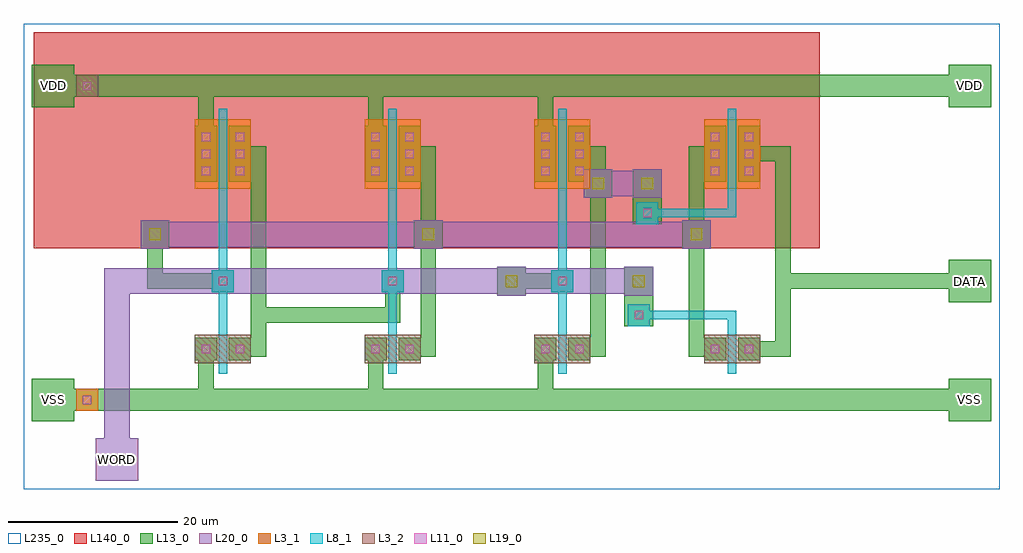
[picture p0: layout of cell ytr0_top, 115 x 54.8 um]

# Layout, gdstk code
import gdstk
lib = gdstk.Library(unit=1e-6, precision=1e-09)
def R(c, l, rs):  # rectangles x0, y0, x1, y1
    for r in rs: c.add(gdstk.rectangle(r[:2], r[2:], *l))
def A(c, l, x, y, w, h, nx, ny, dx, dy):  # array of equal rectangles
    R(c, l, [(x+i*dx, y+j*dy, x+i*dx+w, y+j*dy+h) for i in range(nx) for j in range(ny)])
L3_1 = (3, 1)
L3_2 = (3, 2)
L8_1 = (8, 1)
L11_0 = (11, 0)
L13_0 = (13, 0)
L19_0 = (19, 0)
L20_0 = (20, 0)
L140_0 = (140, 0)
L235_0 = (235, 0)

fet_p = lib.new_cell('fet_p')
R(fet_p, L3_1, [(-3.3,-4.1,3.3,4.1)])
A(fet_p, L11_0, -2.5, -2.5, 1, 1, 1, 3, 0, 2)
A(fet_p, L11_0, 1.5, -2.5, 1, 1, 1, 3, 0, 2)
R(fet_p, L13_0, [(-3.3,-3.3,-0.7,3.3), (0.7,-3.3,3.3,3.3)])
fet_p.add(gdstk.FlexPath([(0,-5.3),(0,5.3)], 1, ends="flush", simple_path=True, layer=8, datatype=1))  # L8_1

fet_n = lib.new_cell('fet_n')
R(fet_n, L3_2, [(-3.3,-1.7,3.3,1.7)])
R(fet_n, L11_0, [(-2.5,-0.5,-1.5,0.5), (1.5,-0.5,2.5,0.5)])
R(fet_n, L13_0, [(-3.3,-1.3,-0.7,1.3), (0.7,-1.3,3.3,1.3)])
fet_n.add(gdstk.FlexPath([(0,-2.9),(0,2.9)], 1, ends="flush", simple_path=True, layer=8, datatype=1))  # L8_1

cont_g = lib.new_cell('cont_g')
R(cont_g, L8_1, [(-1.3,-1.3,1.3,1.3)])
R(cont_g, L11_0, [(-0.5,-0.5,0.5,0.5)])
R(cont_g, L13_0, [(-1.3,-1.3,1.3,1.3)])

cont_n = lib.new_cell('cont_n')
R(cont_n, L3_2, [(-1.3,-1.3,1.3,1.3)])
R(cont_n, L11_0, [(-0.5,-0.5,0.5,0.5)])
R(cont_n, L13_0, [(-1.3,-1.3,1.3,1.3)])

cont_p = lib.new_cell('cont_p')
R(cont_p, L3_1, [(-1.3,-1.3,1.3,1.3)])
R(cont_p, L11_0, [(-0.5,-0.5,0.5,0.5)])
R(cont_p, L13_0, [(-1.3,-1.3,1.3,1.3)])

ytr0_sram = lib.new_cell('ytr0_sram')
R(ytr0_sram, L13_0, [(47.3,-20.3,50.7,-13.3), (32.3,-16.7,35.7,-13.3), (47.3,-16.7,50.7,-13.3), (-9.7,-11.2,-6.3,-7.8), (22.5,-11.2,25.9,-7.8), (54.1,-11.2,57.5,-7.8), (48.3,-8.3,51.7,-1.8), (42.5,-5.2,45.9,-1.8), (48.3,-5.2,51.7,-1.8)])
R(ytr0_sram, L19_0, [(33.3,-15.7,34.7,-14.3), (48.3,-15.7,49.7,-14.3), (-8.7,-10.2,-7.3,-8.8), (23.5,-10.2,24.9,-8.8), (55.1,-10.2,56.5,-8.8), (43.5,-4.2,44.9,-2.8), (49.3,-4.2,50.7,-2.8)])
R(ytr0_sram, L20_0, [(32.3,-16.7,35.7,-13.3), (47.3,-16.7,50.7,-13.3), (-9.7,-11.2,-6.3,-7.8), (22.5,-11.2,25.9,-7.8), (54.1,-11.2,57.5,-7.8), (42.5,-5.2,45.9,-1.8), (48.3,-5.2,51.7,-1.8)])
R(ytr0_sram, L140_0, [(-22.3,-11.1,70.3,14.3)])
ytr0_sram.add(gdstk.FlexPath([(2,0),(4.2,0),(4.2,-23),(2,-23)], 1.8, ends="flush", simple_path=True, layer=13, datatype=0))  # L13_0
ytr0_sram.add(gdstk.FlexPath([(-2,0),(-2,8)], 1.8, ends="flush", simple_path=True, layer=13, datatype=0))  # L13_0
ytr0_sram.add(gdstk.FlexPath([(-2,-23),(-2,-29)], 1.8, ends="flush", simple_path=True, layer=13, datatype=0))  # L13_0
ytr0_sram.add(gdstk.FlexPath([(22,0),(24.2,0),(24.2,-23),(22,-23)], 1.8, ends="flush", simple_path=True, layer=13, datatype=0))  # L13_0
ytr0_sram.add(gdstk.FlexPath([(18,0),(18,8)], 1.8, ends="flush", simple_path=True, layer=13, datatype=0))  # L13_0
ytr0_sram.add(gdstk.FlexPath([(18,-23),(18,-29)], 1.8, ends="flush", simple_path=True, layer=13, datatype=0))  # L13_0
ytr0_sram.add(gdstk.FlexPath([(42,0),(44.2,0),(44.2,-23),(42,-23)], 1.8, ends="flush", simple_path=True, layer=13, datatype=0))  # L13_0
ytr0_sram.add(gdstk.FlexPath([(38,0),(38,8)], 1.8, ends="flush", simple_path=True, layer=13, datatype=0))  # L13_0
ytr0_sram.add(gdstk.FlexPath([(38,-23),(38,-29)], 1.8, ends="flush", simple_path=True, layer=13, datatype=0))  # L13_0
ytr0_sram.add(gdstk.FlexPath([(58,0),(55.8,0),(55.8,-23),(58,-23)], 1.8, ends="flush", simple_path=True, layer=13, datatype=0))  # L13_0
ytr0_sram.add(gdstk.FlexPath([(62,0),(66,0),(66,-23),(62,-23)], 1.8, ends="flush", simple_path=True, layer=13, datatype=0))  # L13_0
ytr0_sram.add(gdstk.FlexPath([(66,-15),(72,-15)], 1.8, ends="flush", simple_path=True, layer=13, datatype=0))  # L13_0
ytr0_sram.add(gdstk.FlexPath([(4.2,-19),(20,-19),(20,-15)], 1.8, ends="flush", simple_path=True, layer=13, datatype=0))  # L13_0
ytr0_sram.add(gdstk.FlexPath([(-8,-9.5),(-8,-15),(0,-15)], 1.8, ends="flush", simple_path=True, layer=13, datatype=0))  # L13_0
ytr0_sram.add(gdstk.FlexPath([(40,-15),(34,-15)], 1.8, ends="flush", simple_path=True, layer=13, datatype=0))  # L13_0
ytr0_sram.add(gdstk.FlexPath([(-18,8),(72,8)], 2.6, ends="flush", simple_path=True, layer=13, datatype=0))  # L13_0
ytr0_sram.add(gdstk.FlexPath([(-18,-29),(72,-29)], 2.6, ends="flush", simple_path=True, layer=13, datatype=0))  # L13_0
ytr0_sram.add(gdstk.FlexPath([(-8,-9.5),(55.8,-9.5)], 3, ends="flush", simple_path=True, layer=20, datatype=0))  # L20_0
ytr0_sram.add(gdstk.FlexPath([(-14,-15),(49,-15)], 3, ends="flush", simple_path=True, layer=20, datatype=0))  # L20_0
ytr0_sram.add(gdstk.FlexPath([(44.2,-3.5),(50,-3.5)], 3, ends="flush", simple_path=True, layer=20, datatype=0))  # L20_0
ytr0_sram.add(gdstk.FlexPath([(0,-5.3),(0,-20.1)], 1, ends="flush", simple_path=True, layer=8, datatype=1))  # L8_1
ytr0_sram.add(gdstk.FlexPath([(20,-5.3),(20,-20.1)], 1, ends="flush", simple_path=True, layer=8, datatype=1))  # L8_1
ytr0_sram.add(gdstk.FlexPath([(40,-5.3),(40,-20.1)], 1, ends="flush", simple_path=True, layer=8, datatype=1))  # L8_1
ytr0_sram.add(gdstk.FlexPath([(60,-5.3),(60,-7),(50,-7)], 1, ends="flush", simple_path=True, layer=8, datatype=1))  # L8_1
ytr0_sram.add(gdstk.FlexPath([(60,-20.1),(60,-19),(49,-19)], 1, ends="flush", simple_path=True, layer=8, datatype=1))  # L8_1
ytr0_sram.add(gdstk.Reference(fet_p, (0,0)))
ytr0_sram.add(gdstk.Reference(fet_n, (0,-23)))
ytr0_sram.add(gdstk.Reference(cont_g, (0,-15)))
ytr0_sram.add(gdstk.Reference(fet_p, (20,0)))
ytr0_sram.add(gdstk.Reference(fet_n, (20,-23)))
ytr0_sram.add(gdstk.Reference(cont_g, (20,-15)))
ytr0_sram.add(gdstk.Reference(fet_p, (40,0)))
ytr0_sram.add(gdstk.Reference(fet_n, (40,-23)))
ytr0_sram.add(gdstk.Reference(cont_g, (40,-15)))
ytr0_sram.add(gdstk.Reference(fet_p, (60,0)))
ytr0_sram.add(gdstk.Reference(fet_n, (60,-23)))
ytr0_sram.add(gdstk.Reference(cont_g, (50,-7)))
ytr0_sram.add(gdstk.Reference(cont_g, (49,-19)))
ytr0_sram.add(gdstk.Reference(cont_n, (-16,8)))
ytr0_sram.add(gdstk.Reference(cont_p, (-16,-29)))
ytr0_sram.add(gdstk.Label('DATA', (71.5,-15), layer=48, texttype=0))
ytr0_sram.add(gdstk.Label('VDD', (-17,8), layer=48, texttype=0))
ytr0_sram.add(gdstk.Label('VSS', (-17,-29), layer=48, texttype=0))
ytr0_sram.add(gdstk.Label('WORD', (-13.5,-15), layer=49, texttype=0))

ytr0_top = lib.new_cell('ytr0_top')
R(ytr0_top, L13_0, [(-22.5,-31.5,-17.5,-26.5), (85.5,-31.5,90.5,-26.5), (85.5,-17.5,90.5,-12.5), (-22.5,5.5,-17.5,10.5), (85.5,5.5,90.5,10.5)])
R(ytr0_top, L20_0, [(-15,-38.5,-10,-33.5)])
R(ytr0_top, L235_0, [(-23.5,-39.5,91.5,15.3)])
ytr0_top.add(gdstk.FlexPath([(71.5,-15),(88,-15)], 1.8, ends="flush", simple_path=True, layer=13, datatype=0))  # L13_0
ytr0_top.add(gdstk.FlexPath([(-20,8),(88,8)], 2.6, ends="flush", simple_path=True, layer=13, datatype=0))  # L13_0
ytr0_top.add(gdstk.FlexPath([(-20,-29),(88,-29)], 2.6, ends="flush", simple_path=True, layer=13, datatype=0))  # L13_0
ytr0_top.add(gdstk.FlexPath([(-12.5,-15),(-12.5,-36)], 3, ends="flush", simple_path=True, layer=20, datatype=0))  # L20_0
ytr0_top.add(gdstk.Reference(ytr0_sram, (0,0)))
ytr0_top.add(gdstk.Label('DATA', (88,-15), layer=48, texttype=0))
ytr0_top.add(gdstk.Label('VDD', (-20,8), layer=48, texttype=0))
ytr0_top.add(gdstk.Label('VDD', (88,8), layer=48, texttype=0))
ytr0_top.add(gdstk.Label('VSS', (-20,-29), layer=48, texttype=0))
ytr0_top.add(gdstk.Label('VSS', (88,-29), layer=48, texttype=0))
ytr0_top.add(gdstk.Label('WORD', (-12.5,-36), layer=49, texttype=0))

lib.write_gds('ytr0_top.gds')
